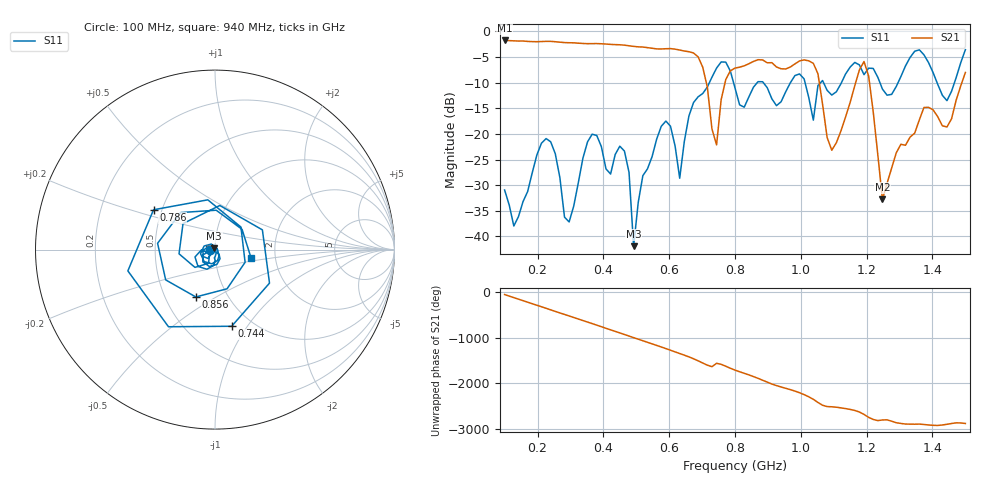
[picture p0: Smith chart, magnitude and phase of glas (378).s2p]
! NanoVNA-App
! Date: 2025-09-25 15:58:25
! Start: 100MHz Stop: 1,5GHz Points: 101
! S-Parameter data: F S11 S21 S12 S22
# Hz S RI R 50
!  Frequency  S11_Real  S11_Imag  S21_Real  S21_Imag  S12_Real  S12_Imag  S22_Real  S22_Imag
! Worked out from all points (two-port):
!   101 points, 100 MHz to 1.5 GHz, reference 50 ohm
!   highest |S21| = -1.80 dB at 100 MHz (marker M1); lowest = -32.8 dB at 1.248 GHz (marker M2)
!   |S21| within 3 dB of the highest: start of sweep to 684.2 MHz
!   lowest |S11| = -41.9 dB at 492 MHz (marker M3), VSWR 1.02, Z = 49.5 + j0.642 ohm
!   |S11| at or under -10 dB: start of sweep to 722.4 MHz; 795.5 MHz to 867.8 MHz (72.31 MHz wide, 8.69 % of centre); 885.8 MHz to 968.6 MHz (82.81 MHz wide, 8.93 % of centre) (the widest 3 of 7)
!   S12 and S22 are empty: the file has one direction only
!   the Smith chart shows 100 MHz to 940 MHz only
!   S11 on the Smith chart (normalised r, x): 100 MHz: 0.95, -0.01; 744 MHz: 0.80, -0.85; 786 MHz: 0.45, +0.24; 856 MHz: 0.71, -0.41; 940 MHz: 1.49, -0.14
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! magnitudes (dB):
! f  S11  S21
! 100 MHz  -30.9  -1.8
! 128 MHz  -38.0  -1.9
! 226 MHz  -20.9  -2.0
! 296 MHz  -37.2  -2.2
! 338 MHz  -24.7  -2.4
! 464 MHz  -23.4  -2.7
! 492 MHz  -41.9  -3.0
! 576 MHz  -18.5  -3.5
! 632 MHz  -28.6  -3.7
! 702 MHz  -12.1  -7.0
! 744 MHz  -7.2  -22.2
! 786 MHz  -7.8  -7.7
! 800 MHz  -11.1  -7.2
! 856 MHz  -10.9  -5.9
! 940 MHz  -13.7  -7.3
! 1.038 GHz  -17.3  -6.3
! 1.094 GHz  -12.4  -23.2
! 1.192 GHz  -8.5  -5.9
! 1.248 GHz  -11.3  -32.8
! 1.276 GHz  -12.3  -26.7
! 1.444 GHz  -13.5  -18.7
! 1.5 GHz  -3.6  -8.0
